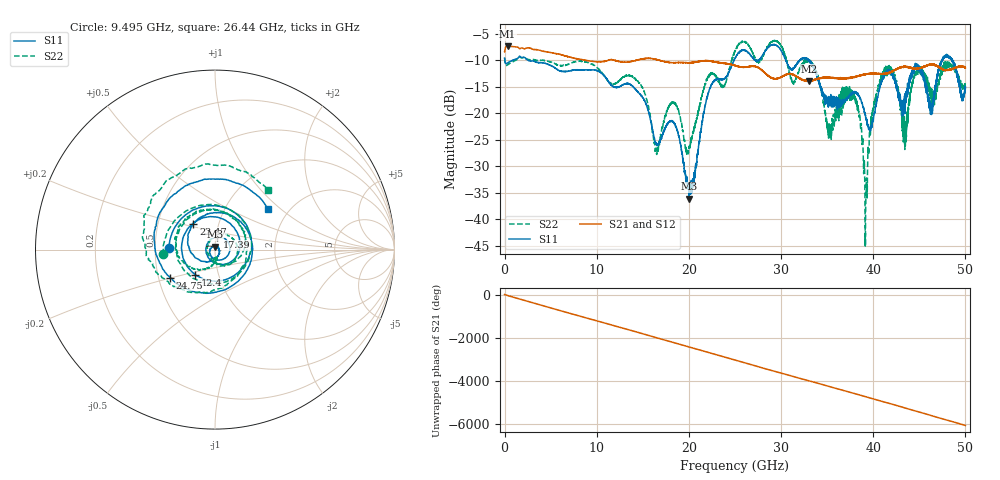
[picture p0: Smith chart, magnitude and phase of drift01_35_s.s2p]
!Created with skrf (http://scikit-rf.org).
# Hz S RI R 50.0
!freq ReS11 ImS11 ReS21 ImS21 ReS12 ImS12 ReS22 ImS22
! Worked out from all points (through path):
!   10001 points, 300 kHz to 50 GHz, reference 50 ohm
!   highest |S21| = -7.33 dB at 325.3 MHz (marker M1); lowest = -14.0 dB at 33.02 GHz (marker M2)
!   group delay of S21, straight-line fit = 335 ps
!   lowest |S11| = -36.1 dB at 20.03 GHz (marker M3), VSWR 1.03, Z = 50 + j1.56 ohm
!   |S11| at or under -10 dB: 2.553 GHz to 24.9 GHz (22.35 GHz wide, 163 % of centre); 30.51 GHz to 32.02 GHz (1.506 GHz wide, 4.82 % of centre); 33.05 GHz to 47.44 GHz (14.39 GHz wide, 35.8 % of centre) (the widest 3 of 24)
!   |S22| runs from -45.0 to -6.3 dB; largest |S21 - S12| = 0.008
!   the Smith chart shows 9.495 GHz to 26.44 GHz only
!   S11 on the Smith chart (normalised r, x): 9.495 GHz: 0.59, +0.01; 12.4 GHz: 0.77, -0.22; 17.39 GHz: 1.01, +0.14; 22.47 GHz: 0.76, +0.23; 24.75 GHz: 0.58, -0.20; 26.44 GHz: 1.58, +0.83
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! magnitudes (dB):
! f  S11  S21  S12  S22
! 300 kHz  -9.6  -8.4  -8.5  -9.5
! 325.3 MHz  -10.5  -7.3  -7.3  -10.9
! 8.335 GHz  -11.8  -9.8  -9.8  -10.2
! 9.495 GHz  -11.8  -10.2  -10.2  -10.8
! 12.4 GHz  -15.0  -10.2  -10.2  -13.9
! 16.67 GHz  -26.0  -10.0  -9.9  -27.0
! 17.39 GHz  -22.9  -10.3  -10.3  -20.6
! 20.03 GHz  -36.1  -10.5  -10.5  -26.0
! 22.47 GHz  -14.5  -10.2  -10.2  -12.7
! 24.75 GHz  -10.6  -10.8  -10.9  -9.4
! 25 GHz  -9.6  -11.0  -11.0  -8.2
! 26.44 GHz  -8.6  -11.2  -11.2  -7.1
! 33.02 GHz  -9.9  -14.0  -13.8  -10.1
! 33.34 GHz  -10.8  -13.8  -13.7  -10.6
! 35.23 GHz  -17.3  -13.3  -13.4  -22.0
! 37.97 GHz  -16.1  -13.2  -13.2  -17.3
! 39.17 GHz  -20.8  -12.6  -12.6  -41.5
! 40.14 GHz  -20.0  -12.5  -12.5  -18.0
! 41.67 GHz  -12.1  -12.3  -12.3  -11.6
! 43.39 GHz  -18.9  -11.2  -11.2  -23.7
! 44.87 GHz  -11.2  -11.6  -11.5  -11.8
! 50 GHz  -15.3  -11.4  -11.4  -14.9
